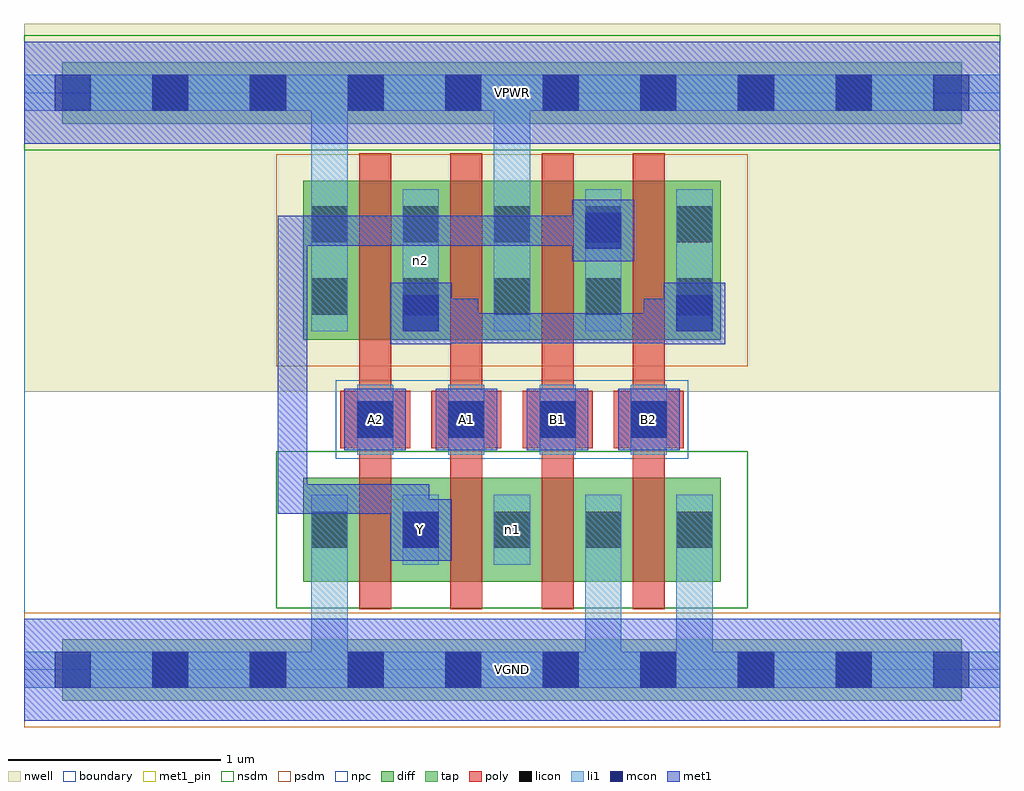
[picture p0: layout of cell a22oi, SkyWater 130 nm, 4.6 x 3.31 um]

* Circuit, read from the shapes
.subckt a22oi A1 A2 B1 B2 VGND VPWR Y n1 n2
XM1 Y A2 VGND VGND sky130_fd_pr__nfet_01v8 w=0.49 l=0.15
XM2 n1 A1 Y VGND sky130_fd_pr__nfet_01v8 w=0.49 l=0.15
XM3 VGND B1 n1 VGND sky130_fd_pr__nfet_01v8 w=0.49 l=0.15
XM4 VGND B2 VGND VGND sky130_fd_pr__nfet_01v8 w=0.49 l=0.15
XM5 n2 A2 VPWR VPWR sky130_fd_pr__pfet_01v8 w=0.75 l=0.15
XM6 VPWR A1 n2 VPWR sky130_fd_pr__pfet_01v8 w=0.75 l=0.15
XM7 Y B1 VPWR VPWR sky130_fd_pr__pfet_01v8 w=0.75 l=0.15
XM8 n2 B2 Y VPWR sky130_fd_pr__pfet_01v8 w=0.75 l=0.15
.ends

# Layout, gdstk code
import gdstk
lib = gdstk.Library(unit=1e-6, precision=1e-09)
def R(c, l, rs):  # rectangles x0, y0, x1, y1
    for r in rs: c.add(gdstk.rectangle(r[:2], r[2:], *l))
def A(c, l, x, y, w, h, nx, ny, dx, dy):  # array of equal rectangles
    R(c, l, [(x+i*dx, y+j*dy, x+i*dx+w, y+j*dy+h) for i in range(nx) for j in range(ny)])
nwell = (64, 20)
diff = (65, 20)
tap = (65, 44)
poly = (66, 20)
licon = (66, 44)
li1 = (67, 20)
mcon = (67, 44)
met1_pin = (68, 16)
met1 = (68, 20)
nsdm = (93, 44)
psdm = (94, 20)
npc = (95, 20)
boundary = (235, 4)

a22oi = lib.new_cell('a22oi')
R(a22oi, nwell, [(0,1.31,4.6,3.045)])
R(a22oi, diff, [(1.315,0.415,3.285,0.905), (1.315,1.555,3.285,2.305)])
R(a22oi, tap, [(0.18,-0.145,4.42,0.145), (0.18,2.575,4.42,2.865)])
A(a22oi, poly, 1.58, 0.285, 0.15, 2.15, 4, 1, 0.43, 0)
A(a22oi, poly, 1.49, 1.045, 0.33, 0.27, 4, 1, 0.43, 0)
A(a22oi, licon, 0.605, -0.085, 0.17, 0.17, 8, 2, 0.46, 2.72)
A(a22oi, licon, 1.355, 0.575, 0.17, 0.17, 5, 2, 0.43, 1.1)
A(a22oi, licon, 1.57, 1.095, 0.17, 0.17, 4, 1, 0.43, 0)
A(a22oi, licon, 1.355, 2.015, 0.17, 0.17, 5, 1, 0.43, 0)
A(a22oi, li1, 1.355, 0.495, 0.17, 0.33, 5, 1, 0.43, 0)
A(a22oi, li1, 1.57, 1.015, 0.17, 0.33, 4, 1, 0.43, 0)
A(a22oi, li1, 1.355, 1.595, 0.17, 0.67, 5, 1, 0.43, 0)
R(a22oi, li1, [(0,-0.085,4.6,0.085), (1.355,-0.085,1.525,0.825), (2.645,-0.085,2.815,0.825), (3.075,-0.085,3.245,0.825), (1.355,1.595,1.525,2.805), (2.215,1.595,2.385,2.805), (0,2.635,4.6,2.805)])
A(a22oi, mcon, 0.145, -0.085, 0.17, 0.17, 10, 2, 0.46, 2.72)
A(a22oi, mcon, 1.57, 1.095, 0.17, 0.17, 4, 1, 0.43, 0)
R(a22oi, mcon, [(1.785,0.575,1.955,0.745), (1.785,1.595,1.955,1.765), (3.075,1.595,3.245,1.765), (2.645,1.985,2.815,2.155)])
A(a22oi, met1_pin, 1.51, 1.035, 0.29, 0.29, 4, 1, 0.43, 0)
R(a22oi, met1_pin, [(0,-0.24,4.6,0.24), (1.725,0.515,2.015,0.805), (0,2.48,4.6,2.96)])
A(a22oi, met1, 1.51, 1.035, 0.29, 0.29, 4, 1, 0.43, 0)
R(a22oi, met1, [(0,-0.24,4.6,0.24), (1.725,0.515,2.015,0.805), (1.77,0.62,1.91,0.76), (1.77,0.62,1.91,0.875), (1.195,0.735,1.91,0.875), (1.195,0.735,1.335,2.14), (1.725,1.535,2.015,1.825), (3.015,1.535,3.305,1.825), (2,1.54,2.14,1.75), (2,1.54,3.06,1.68), (2.92,1.54,3.06,1.75), (1.8,1.61,2.14,1.75), (2.92,1.61,3.23,1.75), (2.585,1.925,2.875,2.215), (1.195,2,2.6,2.14), (2.46,2,2.8,2.14), (0,2.48,4.6,2.96)])
R(a22oi, nsdm, [(1.19,0.29,3.41,1.03), (0,2.45,4.6,2.99)])
R(a22oi, psdm, [(0,-0.27,4.6,0.27), (1.19,1.43,3.41,2.43)])
R(a22oi, npc, [(1.47,0.995,3.13,1.365)])
R(a22oi, boundary, [(0,0,4.6,2.72)])
a22oi.add(gdstk.Label('n1', (2.3,0.66), layer=67, texttype=5))
a22oi.add(gdstk.Label('n2', (1.87,1.93), layer=67, texttype=5))
a22oi.add(gdstk.Label('A1', (2.085,1.18), layer=68, texttype=5))
a22oi.add(gdstk.Label('A2', (1.655,1.18), layer=68, texttype=5))
a22oi.add(gdstk.Label('B1', (2.515,1.18), layer=68, texttype=5))
a22oi.add(gdstk.Label('B2', (2.945,1.18), layer=68, texttype=5))
a22oi.add(gdstk.Label('Y', (1.87,0.66), layer=68, texttype=5))
a22oi.add(gdstk.Label('VPWR', (2.3,2.72), layer=68, texttype=5))
a22oi.add(gdstk.Label('VGND', (2.3,0), layer=68, texttype=5))
a22oi.add(gdstk.Label('A1', (2.085,1.18), layer=68, texttype=16))
a22oi.add(gdstk.Label('A2', (1.655,1.18), layer=68, texttype=16))
a22oi.add(gdstk.Label('B1', (2.515,1.18), layer=68, texttype=16))
a22oi.add(gdstk.Label('B2', (2.945,1.18), layer=68, texttype=16))
a22oi.add(gdstk.Label('Y', (1.87,0.66), layer=68, texttype=16))
a22oi.add(gdstk.Label('VPWR', (2.3,2.72), layer=68, texttype=16))
a22oi.add(gdstk.Label('VGND', (2.3,0), layer=68, texttype=16))

lib.write_gds('a22oi.gds')
